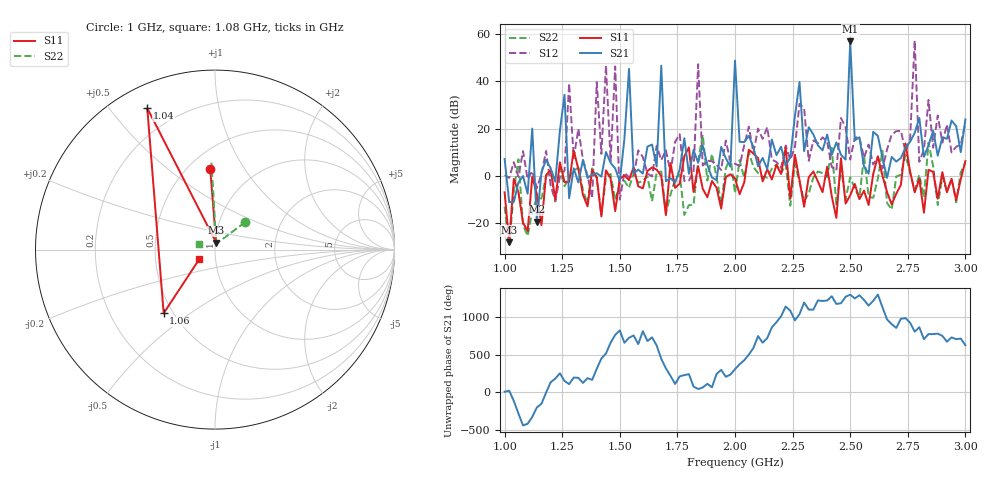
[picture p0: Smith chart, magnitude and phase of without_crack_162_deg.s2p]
# MHz S MA R 50
!  freq  S11  S21  S12  S22
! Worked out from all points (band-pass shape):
!   101 points, 1 GHz to 3 GHz, reference 50 ohm
!   highest |S21| = 56.89 dB at 2.5 GHz (marker M1); lowest = -19.3 dB at 1.14 GHz (marker M2)
!   |S21| within 3 dB of the highest: 2.498799 GHz to 2.501435 GHz (2.636 MHz wide, 0.105 % of centre)
!   lowest |S11| = -28.1 dB at 1.02 GHz (marker M3), VSWR 1.08, Z = 50.5 + j3.94 ohm
!   |S11| at or under -10 dB: 1.003 GHz to 1.033 GHz (30.52 MHz wide, 3 % of centre); 1.065 GHz to 1.112 GHz (46.62 MHz wide, 4.28 % of centre); 1.144 GHz to 1.17 GHz (26.56 MHz wide, 2.3 % of centre) (the widest 3 of 15)
!   |S22| runs from -29.6 to 17.4 dB; largest |S21 - S12| = 7.3e+02
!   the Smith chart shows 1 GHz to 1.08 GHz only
!   S11 on the Smith chart (normalised r, x): 1 GHz: 0.63, +0.72; 1.04 GHz: 0.09, +0.63; 1.06 GHz: 0.45, -0.40; 1.08 GHz: 0.83, -0.09
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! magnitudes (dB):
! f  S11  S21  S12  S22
! 1 GHz  -6.9  7.2  0.4  -12.9
! 1.02 GHz  -28.1  -11.0  -0.8  -29.6
! 1.04 GHz  -1.2  -10.9  5.9  -6.3
! 1.06 GHz  -6.8  -2.7  -0.3  7.1
! 1.08 GHz  -19.7  0.0  10.6  -20.7
! 1.14 GHz  -7.6  -19.3  -5.1  -9.3
! 1.34 GHz  -7.9  6.8  7.1  -5.9
! 1.48 GHz  -14.8  3.2  46.3  -10.3
! 1.5 GHz  -1.2  -2.2  -10.0  -3.3
! 1.54 GHz  -1.7  45.3  -0.5  -5.0
! 1.66 GHz  2.7  4.0  12.8  1.5
! 1.68 GHz  0.0  46.7  6.7  1.9
! 1.7 GHz  -16.5  -2.2  10.9  -15.7
! 1.82 GHz  -6.7  11.0  1.7  -12.2
! 1.84 GHz  4.2  5.6  47.3  6.5
! 1.92 GHz  -4.9  -1.7  4.7  -0.5
! 2 GHz  -1.0  48.8  5.2  -7.2
! 2.34 GHz  2.0  17.6  15.0  -0.6
! 2.48 GHz  -11.6  7.0  20.7  -9.8
! 2.5 GHz  -8.2  56.9  7.0  -0.5
! 2.68 GHz  -11.9  8.1  17.5  -14.2
! 3 GHz  6.3  24.0  22.6  5.7
